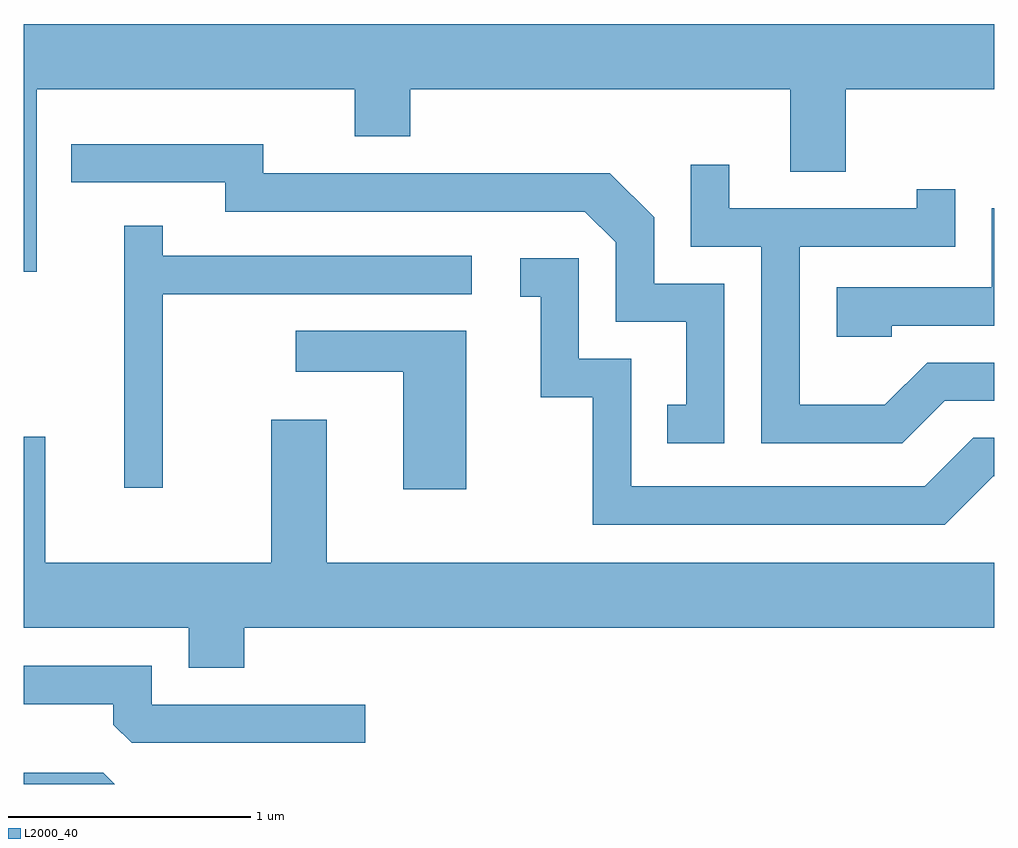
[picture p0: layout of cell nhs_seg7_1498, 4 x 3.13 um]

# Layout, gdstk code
import gdstk
lib = gdstk.Library(unit=1e-6, precision=1e-09)
def P(c, l, *ps):  # polygons
    for p in ps: c.add(gdstk.Polygon(p, *l))
L2000_40 = (2000, 40)

nhs_seg7_1498 = lib.new_cell('nhs_seg7_1498')
P(nhs_seg7_1498, L2000_40, [(229.664,1803.116),(230.976,1803.116),(230.976,1802.921),(231.204,1802.921),(231.204,1803.116),(232.771,1803.116),(232.771,1802.776),(232.999,1802.776),(232.999,1803.116),(233.611,1803.116),(233.611,1803.384),(229.611,1803.384),(229.611,1802.363),(229.664,1802.363)],
  [(232.499,1802.314),(232.209,1802.314),(232.209,1802.587),(232.027,1802.769),(230.599,1802.769),(230.599,1802.889),(229.808,1802.889),(229.808,1802.731),(230.441,1802.731),(230.441,1802.611),(231.924,1802.611),(232.051,1802.484),(232.051,1802.156),(232.341,1802.156),(232.341,1801.814),(232.263,1801.814),(232.263,1801.656),(232.499,1801.656)],
  [(233.407,1801.831),(233.611,1801.831),(233.611,1801.989),(233.334,1801.989),(233.159,1801.814),(232.809,1801.814),(232.809,1802.466),(233.449,1802.466),(233.449,1802.703),(233.291,1802.703),(233.291,1802.624),(232.519,1802.624),(232.519,1802.803),(232.361,1802.803),(232.361,1802.466),(232.651,1802.466),(232.651,1801.656),(233.232,1801.656)],
  [(233.189,1802.141),(233.611,1802.141),(233.611,1802.624),(233.601,1802.624),(233.601,1802.299),(232.961,1802.299),(232.961,1802.096),(233.189,1802.096)],
  [(230.184,1802.271),(231.458,1802.271),(231.458,1802.429),(230.184,1802.429),(230.184,1802.553),(230.026,1802.553),(230.026,1801.473),(230.184,1801.473)],
  [(233.607,1801.521),(233.611,1801.521),(233.611,1801.679),(233.524,1801.679),(233.324,1801.479),(232.114,1801.479),(232.114,1802.004),(231.899,1802.004),(231.899,1802.419),(231.658,1802.419),(231.658,1802.261),(231.741,1802.261),(231.741,1801.846),(231.956,1801.846),(231.956,1801.321),(233.407,1801.321)],
  [(231.434,1802.119),(230.733,1802.119),(230.733,1801.951),(231.176,1801.951),(231.176,1801.466),(231.434,1801.466)],
  [(230.519,1800.896),(233.611,1800.896),(233.611,1801.164),(230.859,1801.164),(230.859,1801.754),(230.631,1801.754),(230.631,1801.164),(229.699,1801.164),(229.699,1801.684),(229.611,1801.684),(229.611,1800.896),(230.291,1800.896),(230.291,1800.731),(230.519,1800.731)],
  [(231.018,1800.579),(230.139,1800.579),(230.139,1800.739),(229.611,1800.739),(229.611,1800.581),(229.981,1800.581),(229.981,1800.497),(230.057,1800.421),(231.018,1800.421)],
  [(229.939,1800.299),(229.611,1800.299),(229.611,1800.252),(229.986,1800.252)])

lib.write_gds('nhs_seg7_1498.gds')
